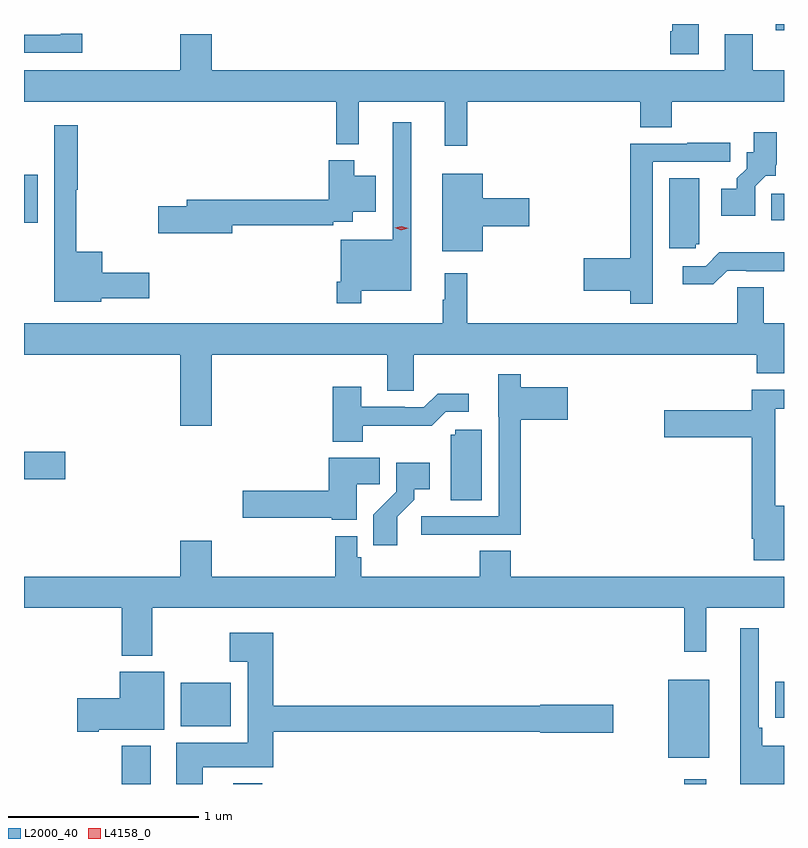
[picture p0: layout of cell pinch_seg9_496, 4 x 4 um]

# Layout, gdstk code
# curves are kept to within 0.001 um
import gdstk
lib = gdstk.Library(unit=1e-6, precision=1e-09)
def R(c, l, rs):  # rectangles x0, y0, x1, y1
    for r in rs: c.add(gdstk.rectangle(r[:2], r[2:], *l))
def P(c, l, *ps):  # polygons
    for p in ps: c.add(gdstk.Polygon(p, *l))
L2000_40 = (2000, 40)
L4158_0 = (4158, 0)

pinch_seg9_496 = lib.new_cell('pinch_seg9_496')
R(pinch_seg9_496, L2000_40, [(272.591,1191.496,272.743,1191.697), (273.179,1191.496,273.332,1191.499), (275.551,1191.496,275.668,1191.52), (275.468,1191.635,275.683,1192.045), (272.903,1191.8,273.166,1192.03), (276.032,1191.845,276.077,1192.033), (272.077,1193.099,272.293,1193.246), (272.077,1194.449,272.149,1194.703), (276.01,1194.464,276.077,1194.603), (276.034,1195.464,276.077,1195.496)])
P(pinch_seg9_496, L2000_40, [(275.629,1195.496),(275.489,1195.496),(275.489,1195.457),(275.477,1195.457),(275.477,1195.338),(275.629,1195.338)],
  [(272.383,1195.445),(272.27,1195.445),(272.27,1195.44),(272.077,1195.44),(272.077,1195.344),(272.383,1195.344)],
  [(273.064,1195.441),(272.9,1195.441),(272.9,1195.252),(272.077,1195.252),(272.077,1195.088),(273.721,1195.088),(273.721,1194.863),(273.839,1194.863),(273.839,1195.088),(274.292,1195.088),(274.292,1194.855),(274.409,1194.855),(274.409,1195.088),(275.321,1195.088),(275.321,1194.952),(275.486,1194.952),(275.486,1195.088),(276.077,1195.088),(276.077,1195.252),(275.913,1195.252),(275.913,1195.442),(275.765,1195.442),(275.765,1195.252),(273.064,1195.252)],
  [(273.853,1194.092),(274.114,1194.092),(274.114,1194.979),(274.017,1194.979),(274.017,1194.361),(273.744,1194.361),(273.744,1194.139),(273.724,1194.139),(273.724,1194.027),(273.853,1194.027)],
  [(272.484,1194.053),(272.737,1194.053),(272.737,1194.188),(272.488,1194.188),(272.488,1194.298),(272.351,1194.298),(272.351,1194.623),(272.359,1194.623),(272.359,1194.964),(272.237,1194.964),(272.237,1194.035),(272.484,1194.035)],
  [(275.925,1194.642),(275.981,1194.698),(276.034,1194.698),(276.034,1194.751),(276.04,1194.757),(276.04,1194.925),(275.918,1194.925),(275.918,1194.82),(275.88,1194.82),(275.88,1194.735),(275.828,1194.683),(275.828,1194.628),(275.748,1194.628),(275.748,1194.488),(275.925,1194.488)],
  [(275.386,1194.246),(275.385,1194.246),(275.385,1194.771),(275.794,1194.771),(275.794,1194.87),(275.569,1194.87),(275.569,1194.867),(275.269,1194.867),(275.269,1194.263),(275.022,1194.263),(275.022,1194.092),(275.269,1194.092),(275.269,1194.024),(275.386,1194.024)],
  [(273.172,1194.436),(273.704,1194.436),(273.704,1194.456),(273.808,1194.456),(273.808,1194.509),(273.928,1194.509),(273.928,1194.697),(273.814,1194.697),(273.814,1194.778),(273.68,1194.778),(273.68,1194.572),(272.933,1194.572),(272.933,1194.536),(272.784,1194.536),(272.784,1194.394),(273.172,1194.394)],
  [(274.492,1194.431),(274.735,1194.431),(274.735,1194.578),(274.492,1194.578),(274.492,1194.709),(274.277,1194.709),(274.277,1194.299),(274.492,1194.299)],
  [(275.613,1194.336),(275.632,1194.336),(275.632,1194.685),(275.474,1194.685),(275.474,1194.315),(275.613,1194.315)],
  [(275.778,1194.198),(275.878,1194.198),(275.878,1194.195),(276.077,1194.195),(276.077,1194.295),(275.737,1194.295),(275.664,1194.222),(275.544,1194.222),(275.544,1194.125),(275.705,1194.125)],
  [(273.064,1193.756),(273.989,1193.756),(273.989,1193.566),(274.128,1193.566),(274.128,1193.756),(275.933,1193.756),(275.933,1193.657),(276.077,1193.657),(276.077,1193.92),(275.971,1193.92),(275.971,1194.11),(275.832,1194.11),(275.832,1193.92),(274.409,1193.92),(274.409,1194.184),(274.292,1194.184),(274.292,1194.044),(274.281,1194.044),(274.281,1193.92),(272.077,1193.92),(272.077,1193.756),(272.9,1193.756),(272.9,1193.382),(273.064,1193.382)],
  [(274.391,1192.809),(274.691,1192.809),(274.691,1193.414),(274.939,1193.414),(274.939,1193.584),(274.691,1193.584),(274.691,1193.653),(274.574,1193.653),(274.574,1193.43),(274.575,1193.43),(274.575,1192.905),(274.167,1192.905),(274.167,1192.807),(274.391,1192.807)],
  [(273.861,1193.382),(274.223,1193.381),(274.296,1193.454),(274.417,1193.454),(274.417,1193.551),(274.255,1193.551),(274.182,1193.478),(274.082,1193.478),(274.082,1193.481),(273.853,1193.481),(273.853,1193.587),(273.701,1193.587),(273.701,1193.297),(273.861,1193.297)],
  [(276.077,1192.96),(276.031,1192.96),(276.031,1193.472),(276.077,1193.472),(276.077,1193.57),(275.906,1193.57),(275.906,1193.463),(275.448,1193.463),(275.448,1193.321),(275.906,1193.321),(275.906,1192.786),(275.918,1192.786),(275.918,1192.674),(276.077,1192.674)],
  [(274.486,1193.361),(274.347,1193.361),(274.347,1193.334),(274.322,1193.334),(274.322,1192.99),(274.486,1192.99)],
  [(273.829,1193.074),(273.95,1193.074),(273.95,1193.212),(273.68,1193.212),(273.68,1193.039),(273.228,1193.039),(273.228,1192.897),(273.696,1192.897),(273.696,1192.886),(273.829,1192.886)],
  [(274.042,1192.903),(274.132,1192.993),(274.132,1193.048),(274.213,1193.048),(274.213,1193.188),(274.035,1193.188),(274.035,1193.033),(273.916,1192.914),(273.916,1192.752),(274.042,1192.752)],
  [(272.751,1192.424),(275.551,1192.424),(275.551,1192.191),(275.669,1192.191),(275.669,1192.424),(276.077,1192.424),(276.077,1192.588),(274.64,1192.588),(274.64,1192.724),(274.475,1192.724),(274.475,1192.588),(273.851,1192.588),(273.851,1192.689),(273.831,1192.689),(273.831,1192.801),(273.715,1192.801),(273.715,1192.588),(273.064,1192.588),(273.064,1192.777),(272.9,1192.777),(272.9,1192.588),(272.077,1192.588),(272.077,1192.424),(272.591,1192.424),(272.591,1192.172),(272.751,1192.172)],
  [(276.077,1191.697),(275.963,1191.697),(275.963,1191.793),(275.943,1191.793),(275.943,1192.315),(275.846,1192.315),(275.846,1191.496),(276.077,1191.496)],
  [(273.019,1191.584),(273.389,1191.584),(273.389,1191.772),(274.794,1191.772),(274.794,1191.767),(275.179,1191.767),(275.179,1191.914),(274.794,1191.914),(274.794,1191.908),(273.389,1191.908),(273.389,1192.291),(273.159,1192.291),(273.159,1192.139),(273.254,1192.139),(273.254,1191.712),(272.879,1191.712),(272.879,1191.496),(273.019,1191.496)],
  [(272.47,1191.782),(272.815,1191.782),(272.815,1192.087),(272.582,1192.087),(272.582,1191.948),(272.358,1191.948),(272.358,1191.77),(272.47,1191.77)])
P(pinch_seg9_496, L4158_0, [(274.063,1194.411),(274.027,1194.423),(274.027,1194.423),(274.027,1194.423),(274.064,1194.431),(274.099,1194.42),(274.099,1194.42),(274.099,1194.42)])

lib.write_gds('pinch_seg9_496.gds')
